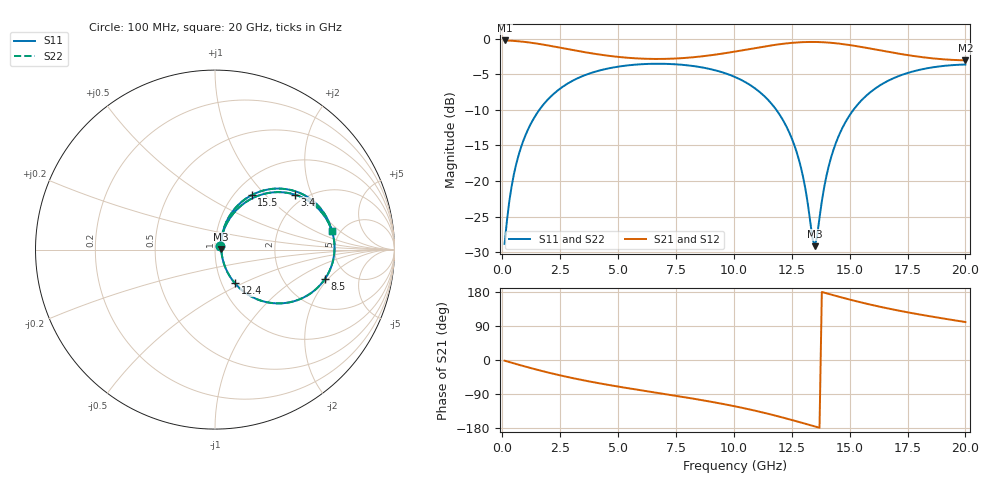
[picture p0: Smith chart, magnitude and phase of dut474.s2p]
! Touchstone file exported from HFSS 2026.1.0
!  File:  C:/ffzhzh/LocalFiles/Ansys_Project_Files/temp_train_TSV_RDL_474_1783103489_50312.aedt
!  Generated:  02:43:08 AM Jul  4, 2026
!  Design:  TSV_RDL
!  Project:  temp_train_TSV_RDL_474_1783103489_50312
! Variables:
!  h_bsmrdl = 5.34um
!  h_ox = 20um
!  h_rdl = 5um
!  h_sub = 78.24um
!  h_tmrdl = 3.38um
!  h_tsv = 78.24um
!  h_via = 3um
!  l_bsmrdl = 538.9um
!  l_sub = 4350.09um
!  l_tmrdl = 563.09um
!  m_sub = 200um
!  pitch = 54.83um
!  r_tsv = 7.5um
!  s_tmrdl = 10um
!  w_bsmrdl = 15.9um
!  w_sub = 500um
!  w_tmrdl = 11.11um
!  x_tsv_center1 = 568.645um
!  x_tsv_center2 = 1123.445um
!  x_tsv_center3 = 1697.645um
!  x_tsv_center4 = 2252.445um
!  x_tsv_center5 = 2826.645um
!  x_tsv_center6 = 3381.445um
# GHz S MA R 50.000000
! Terminal data exported
! Port[1] = TM_RDL1_1_T1
! Port[2] = TM_RDL5_1_T1
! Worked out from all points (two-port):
!   200 points, 100 MHz to 20 GHz, reference 50 ohm
!   highest |S21| = -0.26 dB at 100 MHz (marker M1); lowest = -3.0 dB at 20 GHz (marker M2)
!   |S21| within 3 dB of the highest: start of sweep to end of sweep
!   lowest |S11| = -29.2 dB at 13.5 GHz (marker M3), VSWR 1.07, Z = 53.6 + j0.444 ohm
!   |S11| at or under -10 dB: start of sweep to 1.601 GHz; 11.83 GHz to 15.17 GHz (3.335 GHz wide, 24.7 % of centre)
!   |S22| runs from -29.2 to -3.5 dB; largest |S21 - S12| = 2.5e-14
!   S11 on the Smith chart (normalised r, x): 100 MHz: 1.06, +0.04; 3.4 GHz: 1.76, +1.52; 8.5 GHz: 3.35, -1.85; 12.4 GHz: 1.15, -0.45; 15.5 GHz: 1.20, +0.84; 20 GHz: 4.24, +1.56
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0.1  0.0362 35.6  0.971 -1.8  0.971 -1.8  0.0362 35.6
! Gamma 0 0 0 0
! Port Impedance 50 0 50 0
0.3  0.07151 60.2  0.9683 -5.4  0.9683 -5.4  0.07151 60.2
0.5  0.1113 65.3  0.964 -8.9  0.964 -8.9  0.1113 65.3
1.1  0.2281 62.9  0.9426 -19.2  0.9426 -19.2  0.2281 62.9
2.1  0.3929 50.6  0.8883 -34.9  0.8883 -34.9  0.3929 50.5
3.4  0.5399 34.6  0.8118 -52.3  0.8118 -52.3  0.5399 34.6
3.5  0.5483 33.4  0.8065 -53.5  0.8065 -53.5  0.5483 33.4
5.1  0.6391 16.7  0.7417 -71.1  0.7417 -71.1  0.6391 16.7
6.8  0.6662 0.8  0.7199 -87.8  0.7199 -87.8  0.6662 0.8
8.5  0.633 -15.2  0.7471 -104.6  0.7471 -104.6  0.633 -15.2
10.1  0.5333 -32.2  0.8139 -122.9  0.8139 -122.9  0.5333 -32.2
11.4  0.3826 -48.0  0.8848 -140.7  0.8848 -140.7  0.3827 -48.0
12.4  0.2179 -59.4  0.9304 -156.5  0.9304 -156.5  0.2179 -59.5
13  0.105 -59.1  0.9453 -166.7  0.9453 -166.7  0.105 -59.2
13.4  0.03922 -22.7  0.948 -173.6  0.948 -173.6  0.03909 -22.9
13.5  0.03486 6.8  0.9477 -175.4  0.9477 -175.4  0.03468 6.8
13.9  0.09011 63.7  0.9426 177.7  0.9426 177.7  0.09001 63.8
14.3  0.1652 67.7  0.9317 170.9  0.9317 170.9  0.1651 67.7
15.5  0.3668 56.0  0.8745 151.9  0.8745 151.9  0.3668 56.0
16.7  0.5095 41.7  0.8062 135.5  0.8062 135.5  0.5094 41.7
18.4  0.6214 23.9  0.7324 116.1  0.7324 116.1  0.6214 23.9
20  0.6577 9.1  0.704 100.2  0.704 100.2  0.6578 9.1
